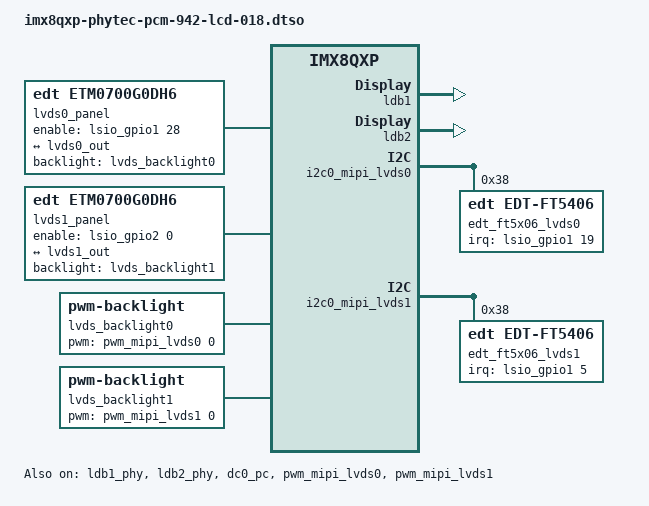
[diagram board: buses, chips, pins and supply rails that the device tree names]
// SPDX-License-Identifier: GPL-2.0+
/*
 * Copyright (C) 2019-2021 PHYTEC America, LLC
 *
 * Enable LCD-018 LVDS displays on PCM-942
 */

/dts-v1/;
/plugin/;

#include <dt-bindings/pinctrl/pads-imx8qxp.h>
#include <dt-bindings/interrupt-controller/irq.h>
#include <dt-bindings/gpio/gpio.h>

/ {
	compatible = "phytec,imx8qxp-pcm-942", "phytec,imx8qxp-phycore-som", "fsl,imx8qxp";

	fragment@10 {
		target-path = "/";
		__overlay__ {
			lvds0_panel {
				compatible = "edt,etm0700g0dh6";
				pinctrl-names = "default";
				pinctrl-0 = <&pinctrl_lvds0>;
				enable = <&lsio_gpio1 28 GPIO_ACTIVE_HIGH>;
				backlight = <&lvds_backlight0>;

				port {
					panel_lvds0_in: endpoint {
						remote-endpoint = <&lvds0_out>;
					};
				};
			};

			lvds1_panel {
				compatible = "edt,etm0700g0dh6";
				pinctrl-names = "default";
				pinctrl-0 = <&pinctrl_lvds1>;
				enable = <&lsio_gpio2 0 GPIO_ACTIVE_HIGH>;
				backlight = <&lvds_backlight1>;

				port {
					panel_lvds1_in: endpoint {
						remote-endpoint = <&lvds1_out>;
					};
				};
			};

			lvds_backlight0: lvds_backlight@0 {
				compatible = "pwm-backlight";
				pwms = <&pwm_mipi_lvds0 0 100000 0>;

				brightness-levels = < 0  1  2  3  4  5	6  7  8  9
						     10 11 12 13 14 15 16 17 18 19
						     20 21 22 23 24 25 26 27 28 29
						     30 31 32 33 34 35 36 37 38 39
						     40 41 42 43 44 45 46 47 48 49
						     50 51 52 53 54 55 56 57 58 59
						     60 61 62 63 64 65 66 67 68 69
						     70 71 72 73 74 75 76 77 78 79
						     80 81 82 83 84 85 86 87 88 89
						     90 91 92 93 94 95 96 97 98 99
						    100>;
				default-brightness-level = <80>;
			};

			lvds_backlight1: lvds_backlight@1 {
				compatible = "pwm-backlight";
				pwms = <&pwm_mipi_lvds1 0 100000 0>;

				brightness-levels = < 0  1  2  3  4  5	6  7  8  9
						     10 11 12 13 14 15 16 17 18 19
						     20 21 22 23 24 25 26 27 28 29
						     30 31 32 33 34 35 36 37 38 39
						     40 41 42 43 44 45 46 47 48 49
						     50 51 52 53 54 55 56 57 58 59
						     60 61 62 63 64 65 66 67 68 69
						     70 71 72 73 74 75 76 77 78 79
						     80 81 82 83 84 85 86 87 88 89
						     90 91 92 93 94 95 96 97 98 99
						    100>;
				default-brightness-level = <80>;
			};
		};
	};

	fragment@11 {
		target = <&ldb1_phy>;
		__overlay__ { status = "okay"; };
	};

	fragment@12 {
		target = <&ldb1>;
		__overlay__ {
			status = "okay";

			lvds-channel@0 {
				fsl,data-mapping = "jeida";
				fsl,data-width = <24>;
				status = "okay";

				port@1 {
					reg = <1>;

					lvds0_out: endpoint {
						remote-endpoint = <&panel_lvds0_in>;
					};
				};
			};
		};
	};

	fragment@13 {
		target = <&ldb2_phy>;
		__overlay__ { status = "okay"; };
	};

	fragment@14 {
		target = <&ldb2>;
		__overlay__ {
			status = "okay";

			lvds-channel@0 {
				fsl,data-mapping = "jeida";
				fsl,data-width = <24>;
				status = "okay";

				port@1 {
					reg = <1>;

					lvds1_out: endpoint {
						remote-endpoint = <&panel_lvds1_in>;
					};
				};
			};
		};
	};

	fragment@15 {
		target = <&dc0_pc>; 	/* Pixel combiner */
		__overlay__ { status = "okay"; };
	};

	fragment@16 {
		target = <&pwm_mipi_lvds0>;
		__overlay__ {
			pinctrl-names = "default";
			pinctrl-0 = <&pinctrl_pwm_mipi_lvds0>;
			status = "okay";
		};
	};

	fragment@17 {
		target = <&pwm_mipi_lvds1>;
		__overlay__ {
			pinctrl-names = "default";
			pinctrl-0 = <&pinctrl_pwm_mipi_lvds1>;
			status = "okay";
		};
	};

	fragment@18 {
		target = <&i2c0_mipi_lvds0>;
		__overlay__ {
			#address-cells = <1>;
			#size-cells = <0>;
			status = "okay";

			edt_ft5x06_lvds0: polytouch_0@38 {
				compatible = "edt,edt-ft5406", "edt,edt-ft5x06";
				pinctrl-names = "default";
				pinctrl-0 = <&pinctrl_edt_ft5x06_lvds0>;
				reg = <0x38>;
				interrupt-parent = <&lsio_gpio1>;
				interrupts = <19 IRQ_TYPE_LEVEL_LOW>;
				status = "okay";
			};
		};
	};

	fragment@19 {
		target = <&i2c0_mipi_lvds1>;
		__overlay__ {
			#address-cells = <1>;
			#size-cells = <0>;
			status = "okay";

			edt_ft5x06_lvds1: polytouch_1@38 {
				compatible = "edt,edt-ft5406", "edt,edt-ft5x06";
				pinctrl-names = "default";
				pinctrl-0 = <&pinctrl_edt_ft5x06_lvds1>;
				reg = <0x38>;
				interrupt-parent = <&lsio_gpio1>;
				interrupts = <5 IRQ_TYPE_LEVEL_LOW>;
				status = "okay";
			};
		};
	};

	fragment@20 {
	       target = <&iomuxc>;
		__overlay__ {
			pcm942 {
				pinctrl_edt_ft5x06_lvds0: edt_ft5x06grp_lvds0 {
					fsl,pins = <
						IMX8QXP_FLEXCAN2_RX_LSIO_GPIO1_IO19	   0x06000021
					>;
				};

				pinctrl_edt_ft5x06_lvds1: edt_ft5x06grp_lvds1 {
					fsl,pins = <
						IMX8QXP_SPI0_SDI_LSIO_GPIO1_IO05   0x06000021
					>;
				};

				pinctrl_pwm_mipi_lvds0: mipi_lvds0_pwm_grp {
					fsl,pins = <
						IMX8QXP_MIPI_DSI0_GPIO0_00_MIPI_DSI0_PWM0_OUT	   0x00000020
					>;
				};

				pinctrl_pwm_mipi_lvds1: mipi_lvds1_pwm_grp {
					fsl,pins = <
						IMX8QXP_MIPI_DSI1_GPIO0_00_MIPI_DSI1_PWM0_OUT	   0x00000020
					>;
				};
			};
		};
	};
};
